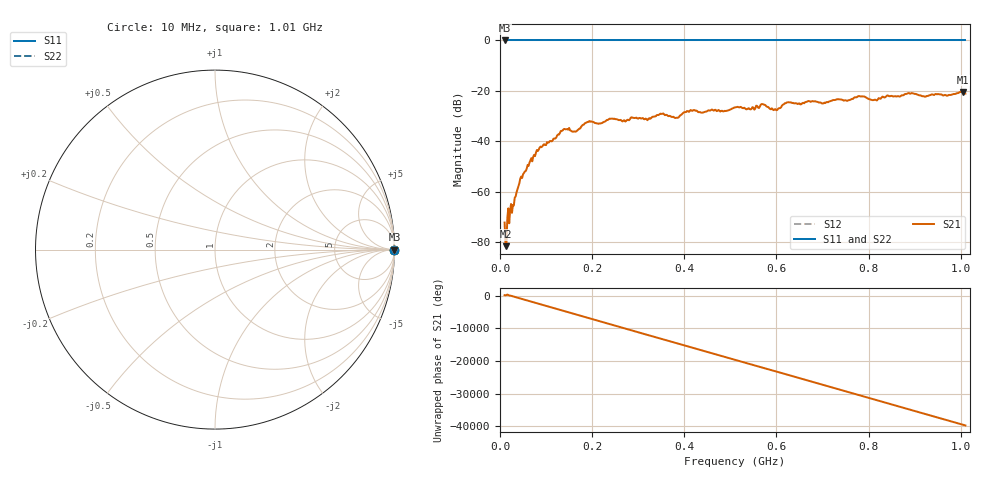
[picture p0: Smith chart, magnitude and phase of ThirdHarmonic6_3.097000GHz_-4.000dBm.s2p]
! 8/17/2025 9:07:28 AM
! C:\ANRITSUVNA\TEMP\TEMP.S2P
! CHANNEL.1
! TR.MEASUREMENT
! RAW.DATA
! RF.CORRECTION.OFF
! AVERAGING.OFF
! IF.BANDWIDTH: 5KHZ
! SWEEPTYPE:  FREQ.SWEEP(Linear)
! Reference Plane Port Info
! PORT:  PORT1  PORT2
! DISTANCE:  0  m  0  m
! TIME:  0  s  0  s
! PHASE.OFFSET:  0  deg.  0  deg.
! LOSS:  0  dB  0  dB
! REF.LOSS:  0  dB  0  dB
! REF.FREQ:  0  Hz  0  Hz
! Power Info
! POWER:  -20  dBm  -20  dBm
! EFF.POWER:  -20  dBm  -20  dBm
! SOURCE.ATTEN:  0  dB  0  dB
! TEST.ATTEN:  0  dB  0  dB
# GHZ S RI R 50.0
! FREQ.GHZ  S11RE  S11IM  S21RE  S21IM  S12RE  S12IM  S22RE  S22IM
!; PortSelection: Port_12
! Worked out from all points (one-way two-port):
!   501 points, 10 MHz to 1.01 GHz, reference 50 ohm
!   highest |S21| = -20.38 dB at 1.004 GHz (marker M1); lowest = -81.5 dB at 12 MHz (marker M2)
!   lowest |S11| = 0.0 dB at 10 MHz (marker M3)
!   |S11| at or under -10 dB: nowhere
!   |S22| runs from 0.0 to 0.0 dB; largest |S21 - S12| = 1.1
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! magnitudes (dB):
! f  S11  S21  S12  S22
! 10 MHz  0.0  -72.2  0.0  0.0
! 12 MHz  0.0  -81.5  0.0  0.0
! 16 MHz  0.0  -70.1  0.0  0.0
! 20 MHz  0.0  -72.4  0.0  0.0
! 30 MHz  0.0  -65.4  0.0  0.0
! 46 MHz  0.0  -53.9  0.0  0.0
! 82 MHz  0.0  -43.8  0.0  0.0
! 136 MHz  0.0  -35.6  0.0  0.0
! 162 MHz  0.0  -36.1  0.0  0.0
! 178 MHz  0.0  -33.8  0.0  0.0
! 194 MHz  0.0  -31.9  0.0  0.0
! 344 MHz  0.0  -29.6  0.0  0.0
! 384 MHz  0.0  -30.6  0.0  0.0
! 416 MHz  0.0  -27.8  0.0  0.0
! 510 MHz  0.0  -26.5  0.0  0.0
! 570 MHz  0.0  -25.2  0.0  0.0
! 598 MHz  0.0  -27.2  0.0  0.0
! 622 MHz  0.0  -24.6  0.0  0.0
! 678 MHz  0.0  -24.0  0.0  0.0
! 844 MHz  0.0  -22.0  0.0  0.0
! 1.004 GHz  0.0  -20.4  0.0  0.0
! 1.01 GHz  0.0  -21.0  0.0  0.0
